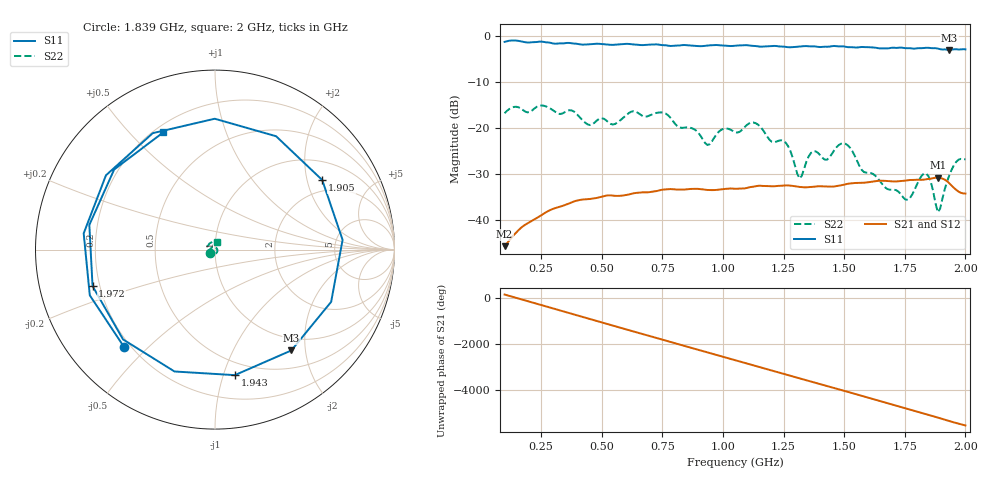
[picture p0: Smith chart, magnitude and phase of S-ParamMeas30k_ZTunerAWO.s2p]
!Keysight Technologies,N5242B,MY48420967,A.15.65.19
!Date: Monday, December 19, 2022 10:03:13
!Correction: S11(C  2-Port  )
!S21(C  2-Port  )
!S12(C  2-Port  )
!S22(C  2-Port  )
!S2P File: Measurements: S11, S21, S12, S22:
# Hz S  dB  R 50
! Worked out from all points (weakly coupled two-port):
!   201 points, 100 MHz to 2 GHz, reference 50 ohm
!   highest |S21| = -30.81 dB at 1.886 GHz (marker M1); lowest = -45.7 dB at 100 MHz (marker M2)
!   lowest |S11| = -3.0 dB at 1.933 GHz (marker M3), VSWR 5.77, Z = 39 - j87 ohm
!   |S11| at or under -10 dB: nowhere
!   |S22| runs from -38.3 to -15.1 dB; largest |S21 - S12| = 3.2e-05
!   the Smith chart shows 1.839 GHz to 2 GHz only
!   S11 on the Smith chart (normalised r, x): 1.839 GHz: 0.17, -0.43; 1.905 GHz: 1.58, +2.48; 1.943 GHz: 0.39, -1.09; 1.972 GHz: 0.17, -0.14; 2 GHz: 0.23, +0.63
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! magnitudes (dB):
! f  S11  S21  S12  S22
! 100 MHz  -1.3  -45.7  -45.7  -16.8
! 252 MHz  -1.2  -39.0  -39.0  -15.1
! 423 MHz  -1.9  -35.6  -35.6  -18.4
! 736.5 MHz  -1.9  -33.6  -33.6  -16.7
! 936 MHz  -2.1  -33.5  -33.5  -23.7
! 1.05 GHz  -2.1  -33.3  -33.2  -20.9
! 1.126 GHz  -2.2  -32.8  -32.8  -18.8
! 1.25 GHz  -2.3  -32.5  -32.5  -22.8
! 1.316 GHz  -2.3  -32.8  -32.8  -31.0
! 1.373 GHz  -2.3  -32.8  -32.8  -25.1
! 1.43 GHz  -2.4  -32.7  -32.7  -26.9
! 1.506 GHz  -2.4  -32.3  -32.3  -23.5
! 1.573 GHz  -2.4  -32.0  -32.0  -29.1
! 1.687 GHz  -2.7  -31.6  -31.6  -33.4
! 1.762 GHz  -2.7  -31.4  -31.4  -35.6
! 1.839 GHz  -2.6  -31.2  -31.2  -30.0
! 1.886 GHz  -2.7  -30.8  -30.8  -38.3
! 1.905 GHz  -2.9  -31.0  -31.0  -35.5
! 1.933 GHz  -3.0  -32.0  -32.0  -30.3
! 1.943 GHz  -3.0  -32.6  -32.6  -29.1
! 1.972 GHz  -3.0  -33.8  -33.8  -26.9
! 2 GHz  -2.9  -34.3  -34.3  -26.9
